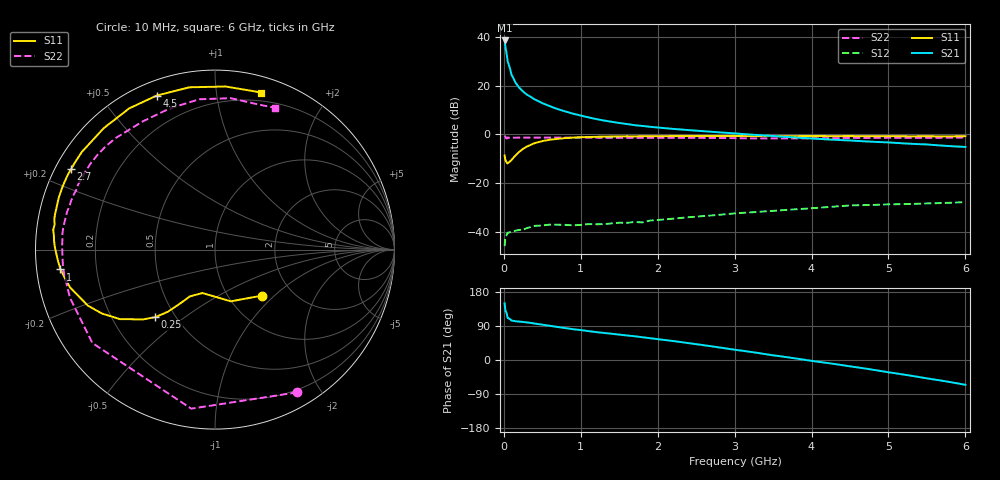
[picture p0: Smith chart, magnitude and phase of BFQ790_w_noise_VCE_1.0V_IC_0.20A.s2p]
! (c) 2015  Infineon Technologies AG, Munich
! Infineon Technologies  Discrete & RF Semiconductors
! BFQ790
! VCE =  1.0 V,  IC = 0.20 A
! Common Emitter S-Parameters:  May 2015
# GHz  S  MA  R  50
!  f  S11  S21  S12  S22
! GHz  MAG  ANG  MAG  ANG  MAG  ANG  MAG  ANG
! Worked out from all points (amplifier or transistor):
!   77 points, 10 MHz to 6 GHz, reference 50 ohm
!   highest |S21| = 38.6 dB at 10 MHz (marker M1)
!   |S21| within 3 dB of that: start of sweep to 22.38 MHz
!   unconditionally stable (mu >= 1): 205.7 MHz to 593.1 MHz; 604.3 MHz to end of sweep
!   at 130 MHz: K = 0.77, MSG = 31.2 dB, |S12| = -39.8 dB
!   at 2.2 GHz: K = 1.30, MAG = 15.2 dB, |S12| = -34.7 dB
!   at 6 GHz: K = 1.15, MAG = 9.0 dB, |S12| = -27.9 dB
!   lowest NFmin = 3.33 dB at 1.5 GHz
!   S11 on the Smith chart (normalised r, x): 10 MHz: 1.41, -0.84; 250 MHz: 0.39, -0.39; 1 GHz: 0.07, -0.06; 2.7 GHz: 0.05, +0.26; 4.5 GHz: 0.06, +0.69; 6 GHz: 0.13, +1.33
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0.01  0.3649 -44.7  84.75 149.4  0.005 57.7  0.9182 -60.0
0.02  0.3014 -73.0  62.82 130.5  0.0077 43.2  0.8959 -98.5
0.05  0.2519 -106.2  31.21 110.8  0.0095 19.9  0.8589 -142.7
0.1  0.2958 -118.2  16.63 104.1  0.0098 12.9  0.8515 -161.6
0.15  0.3636 -123.3  11.59 102.3  0.0104 16.9  0.8497 -169.1
0.2  0.4352 -127.2  9.066 101.3  0.0108 17.6  0.8527 -173.1
0.25  0.5025 -131.5  7.552 100.4  0.0109 14.8  0.851 -175.8
0.3  0.559 -135.9  6.508 99.2  0.0118 11.7  0.8508 -178.1
0.4  0.6563 -143.8  5.211 96.2  0.0131 12.3  0.8519 178.7
0.5  0.7226 -150.4  4.356 93.2  0.0133 11.9  0.8521 176.2
0.7  0.8033 -161.2  3.285 87.1  0.0138 12.5  0.8541 171.9
0.9  0.8517 -169.4  2.643 81.3  0.0134 10.5  0.8516 168.7
1  0.868 -172.7  2.423 79.0  0.0137 10.5  0.8511 167.0
1.1  0.8772 -176.0  2.221 76.3  0.0142 12.5  0.8505 165.5
1.5  0.9015 174.8  1.702 67.0  0.0152 12.5  0.8448 159.8
2.1  0.9148 163.5  1.331 52.6  0.0178 14.1  0.8423 150.8
2.7  0.9188 150.8  1.123 36.1  0.0214 9.9  0.8385 138.6
3.1  0.9168 141.5  1.012 24.4  0.0242 4.2  0.8267 129.3
4.1  0.9175 119.2  0.801 -5.0  0.0309 -11.0  0.8263 105.5
4.5  0.9177 110.7  0.745 -16.7  0.0344 -18.8  0.8421 96.0
5.1  0.9109 96.5  0.663 -35.4  0.0364 -31.9  0.8451 82.0
6  0.9123 73.6  0.549 -65.5  0.0402 -53.6  0.858 66.9
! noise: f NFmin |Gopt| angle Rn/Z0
0.45  5.48  0.47  141  0.52
0.9  3.84  0.6  168  0.17
1.5  3.33  0.71  -172  0.09
1.8  3.37  0.72  -167  0.11
2.6  3.63  0.75  -151  0.27
3.5  4.17  0.82  -135  0.61
